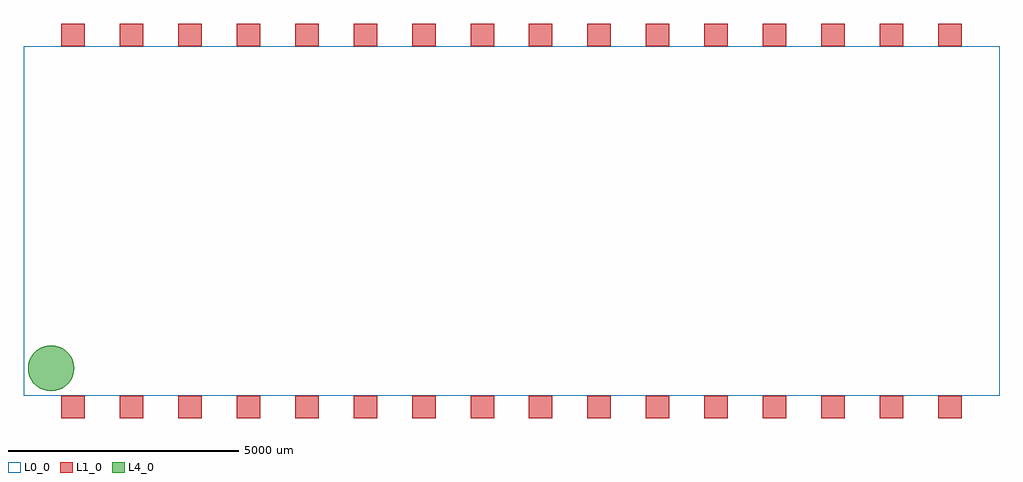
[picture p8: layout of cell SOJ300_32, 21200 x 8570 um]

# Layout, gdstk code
import gdstk
lib = gdstk.Library(unit=1e-6, precision=1e-09)
def R(c, l, rs):  # rectangles x0, y0, x1, y1
    for r in rs: c.add(gdstk.rectangle(r[:2], r[2:], *l))
def A(c, l, x, y, w, h, nx, ny, dx, dy):  # array of equal rectangles
    R(c, l, [(x+i*dx, y+j*dy, x+i*dx+w, y+j*dy+h) for i in range(nx) for j in range(ny)])
def P(c, l, *ps):  # polygons
    for p in ps: c.add(gdstk.Polygon(p, *l))
L0_0 = (0, 0)
L1_0 = (1, 0)
L4_0 = (4, 0)
L99_1 = (99, 1)
L99_2 = (99, 2)
L99_3 = (99, 3)
L99_4 = (99, 4)
L99_5 = (99, 5)
L99_6 = (99, 6)
L99_7 = (99, 7)
L99_8 = (99, 8)
L99_9 = (99, 9)
L99_10 = (99, 10)
L99_11 = (99, 11)
L99_12 = (99, 12)
L99_13 = (99, 13)
L99_14 = (99, 14)
L99_15 = (99, 15)
L99_16 = (99, 16)
L99_17 = (99, 17)
L99_18 = (99, 18)
L99_19 = (99, 19)
L99_20 = (99, 20)
L99_21 = (99, 21)
L99_22 = (99, 22)
L99_23 = (99, 23)
L99_24 = (99, 24)
L99_25 = (99, 25)
L99_26 = (99, 26)
L99_27 = (99, 27)
L99_28 = (99, 28)
L99_29 = (99, 29)
L99_30 = (99, 30)
L99_31 = (99, 31)
L99_32 = (99, 32)

soj300_32 = lib.new_cell('SOJ300_32')
R(soj300_32, L0_0, [(0,0,21200,7600)])
A(soj300_32, L1_0, 820, -485, 510, 485, 16, 2, 1270, 8085)
P(soj300_32, L4_0, [(1100,600),(1092.404,513.176),(1069.846,428.99),(1033.013,350),(983.022,278.606),(921.394,216.978),(850,166.987),(771.01,130.154),(686.824,107.596),(600,100),(513.176,107.596),(428.99,130.154),(350,166.987),(278.606,216.978),(216.978,278.606),(166.987,350),(130.154,428.99),(107.596,513.176),(100,600),(107.596,686.824),(130.154,771.01),(166.987,850),(216.978,921.394),(278.606,983.022),(350,1033.013),(428.99,1069.846),(513.176,1092.404),(600,1100),(686.824,1092.404),(771.01,1069.846),(850,1033.013),(921.394,983.022),(983.022,921.394),(1033.013,850),(1069.846,771.01),(1092.404,686.824)])
soj300_32.add(gdstk.FlexPath([(1330,0),(820,0)], 0, ends="round", simple_path=True, layer=99, datatype=1))  # L99_1
soj300_32.add(gdstk.FlexPath([(2600,0),(2090,0)], 0, ends="round", simple_path=True, layer=99, datatype=2))  # L99_2
soj300_32.add(gdstk.FlexPath([(3870,0),(3360,0)], 0, ends="round", simple_path=True, layer=99, datatype=3))  # L99_3
soj300_32.add(gdstk.FlexPath([(5140,0),(4630,0)], 0, ends="round", simple_path=True, layer=99, datatype=4))  # L99_4
soj300_32.add(gdstk.FlexPath([(6410,0),(5900,0)], 0, ends="round", simple_path=True, layer=99, datatype=5))  # L99_5
soj300_32.add(gdstk.FlexPath([(7680,0),(7170,0)], 0, ends="round", simple_path=True, layer=99, datatype=6))  # L99_6
soj300_32.add(gdstk.FlexPath([(8950,0),(8440,0)], 0, ends="round", simple_path=True, layer=99, datatype=7))  # L99_7
soj300_32.add(gdstk.FlexPath([(10220,0),(9710,0)], 0, ends="round", simple_path=True, layer=99, datatype=8))  # L99_8
soj300_32.add(gdstk.FlexPath([(11490,0),(10980,0)], 0, ends="round", simple_path=True, layer=99, datatype=9))  # L99_9
soj300_32.add(gdstk.FlexPath([(12760,0),(12250,0)], 0, ends="round", simple_path=True, layer=99, datatype=10))  # L99_10
soj300_32.add(gdstk.FlexPath([(14030,0),(13520,0)], 0, ends="round", simple_path=True, layer=99, datatype=11))  # L99_11
soj300_32.add(gdstk.FlexPath([(15300,0),(14790,0)], 0, ends="round", simple_path=True, layer=99, datatype=12))  # L99_12
soj300_32.add(gdstk.FlexPath([(16570,0),(16060,0)], 0, ends="round", simple_path=True, layer=99, datatype=13))  # L99_13
soj300_32.add(gdstk.FlexPath([(17840,0),(17330,0)], 0, ends="round", simple_path=True, layer=99, datatype=14))  # L99_14
soj300_32.add(gdstk.FlexPath([(19110,0),(18600,0)], 0, ends="round", simple_path=True, layer=99, datatype=15))  # L99_15
soj300_32.add(gdstk.FlexPath([(20380,0),(19870,0)], 0, ends="round", simple_path=True, layer=99, datatype=16))  # L99_16
soj300_32.add(gdstk.FlexPath([(820,7600),(1330,7600)], 0, ends="round", simple_path=True, layer=99, datatype=32))  # L99_32
soj300_32.add(gdstk.FlexPath([(2090,7600),(2600,7600)], 0, ends="round", simple_path=True, layer=99, datatype=31))  # L99_31
soj300_32.add(gdstk.FlexPath([(3360,7600),(3870,7600)], 0, ends="round", simple_path=True, layer=99, datatype=30))  # L99_30
soj300_32.add(gdstk.FlexPath([(4630,7600),(5140,7600)], 0, ends="round", simple_path=True, layer=99, datatype=29))  # L99_29
soj300_32.add(gdstk.FlexPath([(5900,7600),(6410,7600)], 0, ends="round", simple_path=True, layer=99, datatype=28))  # L99_28
soj300_32.add(gdstk.FlexPath([(7170,7600),(7680,7600)], 0, ends="round", simple_path=True, layer=99, datatype=27))  # L99_27
soj300_32.add(gdstk.FlexPath([(8440,7600),(8950,7600)], 0, ends="round", simple_path=True, layer=99, datatype=26))  # L99_26
soj300_32.add(gdstk.FlexPath([(9710,7600),(10220,7600)], 0, ends="round", simple_path=True, layer=99, datatype=25))  # L99_25
soj300_32.add(gdstk.FlexPath([(10980,7600),(11490,7600)], 0, ends="round", simple_path=True, layer=99, datatype=24))  # L99_24
soj300_32.add(gdstk.FlexPath([(12250,7600),(12760,7600)], 0, ends="round", simple_path=True, layer=99, datatype=23))  # L99_23
soj300_32.add(gdstk.FlexPath([(13520,7600),(14030,7600)], 0, ends="round", simple_path=True, layer=99, datatype=22))  # L99_22
soj300_32.add(gdstk.FlexPath([(14790,7600),(15300,7600)], 0, ends="round", simple_path=True, layer=99, datatype=21))  # L99_21
soj300_32.add(gdstk.FlexPath([(16060,7600),(16570,7600)], 0, ends="round", simple_path=True, layer=99, datatype=20))  # L99_20
soj300_32.add(gdstk.FlexPath([(17330,7600),(17840,7600)], 0, ends="round", simple_path=True, layer=99, datatype=19))  # L99_19
soj300_32.add(gdstk.FlexPath([(18600,7600),(19110,7600)], 0, ends="round", simple_path=True, layer=99, datatype=18))  # L99_18
soj300_32.add(gdstk.FlexPath([(19870,7600),(20380,7600)], 0, ends="round", simple_path=True, layer=99, datatype=17))  # L99_17

lib.write_gds('SOJ300_32.gds')
